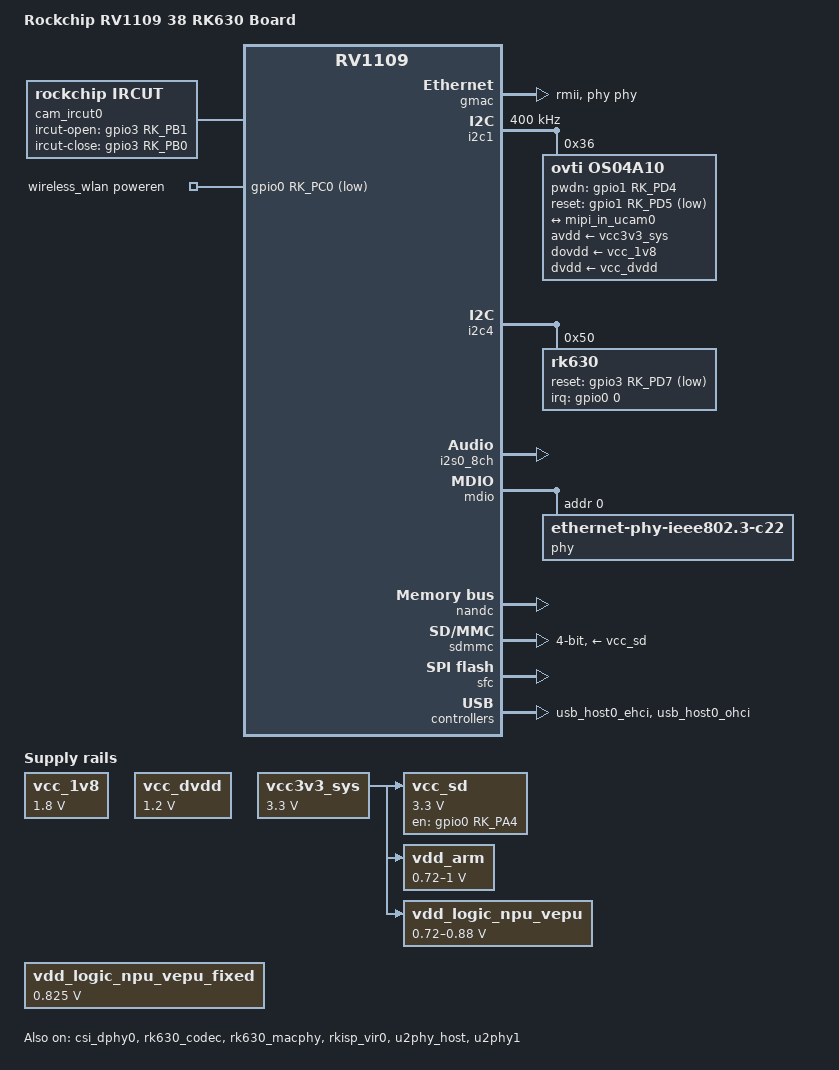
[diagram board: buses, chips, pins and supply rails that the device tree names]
// SPDX-License-Identifier: (GPL-2.0+ OR MIT)
/*
 * Copyright (c) 2022 Rockchip Electronics Co., Ltd.
 */

/dts-v1/;
#include "rv1126.dtsi"
#include "rv1126-ipc.dtsi"

/ {
	model = "Rockchip RV1109 38 RK630 Board";
	compatible = "rockchip,rv1109-38-rk630", "rockchip,rv1109";

	chosen {
		bootargs = "earlycon=uart8250,mmio32,0xff570000 console=ttyFIQ0 ubi.mtd=3 ubi.block=0,rootfs root=/dev/ubiblock0_0 rootfstype=squashfs snd_aloop.index=7";
	};

	/delete-node/ vdd-npu;
	/delete-node/ vdd-vepu;

	cam_ircut0: cam_ircut {
		compatible = "rockchip,ircut";
		status = "okay";
		ircut-open-gpios = <&gpio3 RK_PB1 GPIO_ACTIVE_HIGH>;
		ircut-close-gpios = <&gpio3 RK_PB0 GPIO_ACTIVE_HIGH>;
		pinctrl-names = "default";
		pinctrl-0 = <&ircut_pins>;
		rockchip,camera-module-index = <1>;
		rockchip,camera-module-facing = "front";
	};

	rk630_sound: rk630-sound {
		status = "okay";
		compatible = "simple-audio-card";
		simple-audio-card,format = "i2s";
		simple-audio-card,name = "rockchip,rk630-codec";
		simple-audio-card,mclk-fs = <256>;
		simple-audio-card,cpu {
			sound-dai = <&i2s0_8ch>;
		};
		simple-audio-card,codec {
			sound-dai = <&rk630_codec>;
		};
	};

	vcc_1v8: vcc-1v8 {
		compatible = "regulator-fixed";
		regulator-name = "vcc_1v8";
		regulator-always-on;
		regulator-boot-on;
		regulator-min-microvolt = <1800000>;
		regulator-max-microvolt = <1800000>;
	};

	vcc_dvdd: vcc-dvdd {
		compatible = "regulator-fixed";
		regulator-name = "vcc_dvdd";
		regulator-always-on;
		regulator-boot-on;
		regulator-min-microvolt = <1200000>;
		regulator-max-microvolt = <1200000>;
	};

	vcc3v3_sys: vcc33sys {
		compatible = "regulator-fixed";
		regulator-name = "vcc3v3_sys";
		regulator-always-on;
		regulator-boot-on;
		regulator-min-microvolt = <3300000>;
		regulator-max-microvolt = <3300000>;
	};

	vcc_sd: vcc-sd {
		compatible = "regulator-fixed";
		gpio = <&gpio0 RK_PA4 GPIO_ACTIVE_HIGH>;
		pinctrl-0 = <&sdmmc_pwr>;
		pinctrl-names = "default";
		regulator-name = "vcc_sd";
		regulator-min-microvolt = <3300000>;
		regulator-max-microvolt = <3300000>;
		startup-delay-us = <100000>;
		vin-supply = <&vcc3v3_sys>;
		enable-active-high;
	};

	vdd_arm: vdd-arm {
		compatible = "pwm-regulator";
		pwms = <&pwm0 0 5000 1>;
		regulator-name = "vdd_arm";
		regulator-min-microvolt = <720000>;
		regulator-max-microvolt = <1000000>;
		regulator-init-microvolt = <825000>;
		regulator-always-on;
		regulator-boot-on;
		regulator-settling-time-up-us = <250>;
		pwm-supply = <&vcc3v3_sys>;
		status = "okay";
	};

	/*
	 * pwm1 is reserved as voltage adjustment in hardware
	 * use fixed regulator to avoid voltage adjustment by software
	 */
	vdd_logic_npu_vepu: vdd-logic-npu-vepu {
		compatible = "pwm-regulator";
		pwms = <&pwm1 0 5000 1>;
		regulator-name = "vdd_logic_npu_vepu";
		regulator-min-microvolt = <720000>;
		regulator-max-microvolt = <880000>;
		regulator-init-microvolt = <825000>;
		regulator-always-on;
		regulator-boot-on;
		regulator-settling-time-up-us = <250>;
		pwm-supply = <&vcc3v3_sys>;
		status = "okay";
	};

	vdd_logic_npu_vepu_fixed: vdd-logic-npu-vepu-fixed {
		compatible = "regulator-fixed";
		regulator-name = "vdd_logic_npu_vepu-fixed";
		regulator-always-on;
		regulator-boot-on;
		regulator-min-microvolt = <825000>;
		regulator-max-microvolt = <825000>;
	};

	wireless_wlan: wireless-wlan {
		compatible = "wlan-platdata";
		rockchip,grf = <&grf>;
		wifi_chip_type = "rtl8188fu";
		WIFI,poweren_gpio = <&gpio0 RK_PC0 GPIO_ACTIVE_LOW>;
		status = "okay";
	};

};

&csi_dphy0 {
	status = "okay";

	ports {
		#address-cells = <1>;
		#size-cells = <0>;
		port@0 {
			reg = <0>;
			#address-cells = <1>;
			#size-cells = <0>;

			mipi_in_ucam0: endpoint@1 {
				reg = <1>;
				remote-endpoint = <&ucam_out0>;
				data-lanes = <1 2 3 4>;
			};
		};
		port@1 {
			reg = <1>;
			#address-cells = <1>;
			#size-cells = <0>;

			csidphy0_out: endpoint@0 {
				reg = <0>;
				remote-endpoint = <&isp_in>;
			};
		};
	};
};

&gmac {
	phy-mode = "rmii";
	clock_in_out = "output";
	assigned-clocks = <&cru CLK_GMAC_SRC>, <&cru CLK_GMAC_TX_RX>;
	assigned-clock-parents = <&cru CLK_GMAC_SRC_M0>, <&cru RMII_MODE_CLK>;
	assigned-clock-rates = <50000000>;

	pinctrl-names = "default";
	pinctrl-0 = <&rmiim0_miim &rgmiim0_rxer &rmiim0_bus2 &rgmiim0_mclkinout_level0>;

	phy-handle = <&phy>;
	status = "okay";
};

&i2c1 {
	status = "okay";
	clock-frequency = <400000>;

	os04a10: os04a10@36 {
		compatible = "ovti,os04a10";
		reg = <0x36>;
		clocks = <&cru CLK_MIPICSI_OUT>;
		clock-names = "xvclk";
		power-domains = <&power RV1126_PD_VI>;
		pinctrl-names = "rockchip,camera_default";
		pinctrl-0 = <&mipicsi_clk0>;
		avdd-supply = <&vcc3v3_sys>;
		dovdd-supply = <&vcc_1v8>;
		dvdd-supply = <&vcc_dvdd>;
		pwdn-gpios = <&gpio1 RK_PD4 GPIO_ACTIVE_HIGH>;
		reset-gpios = <&gpio1 RK_PD5 GPIO_ACTIVE_LOW>;
		rockchip,camera-module-index = <1>;
		rockchip,camera-module-facing = "front";
		rockchip,camera-module-name = "CMK-OT1607-FV1";
		rockchip,camera-module-lens-name = "M12-40IRC-4MP-F16";
		ir-cut = <&cam_ircut0>;

		port {
			ucam_out0: endpoint {
				remote-endpoint = <&mipi_in_ucam0>;
				data-lanes = <1 2 3 4>;
			};
		};
	};
};

&i2c4 {
	status = "okay";
	pinctrl-names = "default";
	pinctrl-0 = <&i2c4m1_xfer>;

	rk630: rk630@50 {
		reg = <0x50>;
		interrupt-parent = <&gpio0>;
		interrupts = <0 IRQ_TYPE_LEVEL_HIGH>;
		reset-gpios = <&gpio3 RK_PD7 GPIO_ACTIVE_LOW>;
		clocks = <&cru CLK_GMAC_ETHERNET_OUT>;
		clock-names = "ref";
		assigned-clocks = <&cru CLK_GMAC_ETHERNET_OUT>;
		assigned-clock-rates = <25000000>;
		pinctrl-names = "default";
		pinctrl-0 = <&clkm0_out_ethernet>;
		status = "okay";
	};
};

#include "arm64/rockchip/rk630.dtsi"

&i2s0_8ch {
	status = "okay";
	rockchip,clk-trcm = <1>;
	#sound-dai-cells = <0>;
	pinctrl-0 = <&i2s0m0_sclk_tx
		     &i2s0m0_lrck_tx
		     &i2s0m0_sdi0
		     &i2s0m0_sdo0>;
};

&mdio {
	phy: phy@0 {
		compatible = "ethernet-phy-ieee802.3-c22";
		reg = <0x0>;
	};
};

&nandc {
	status = "okay";
};

&npu {
	npu-supply = <&vdd_logic_npu_vepu_fixed>;
};

&pinctrl {
	ircut {
		/omit-if-no-ref/
		ircut_pins: ircut-pins {
			rockchip,pins = <3 RK_PB0 RK_FUNC_GPIO &pcfg_pull_up>,
					<3 RK_PB1 RK_FUNC_GPIO &pcfg_pull_up>;
		};
	};

	sdmmc-pwr {
		/omit-if-no-ref/
		sdmmc_pwr: sdmmc-pwr {
			rockchip,pins = <0 RK_PA4 RK_FUNC_GPIO &pcfg_pull_none>;
		};
	};
};

&pmu_io_domains {
	status = "okay";

	pmuio0-supply = <&vcc3v3_sys>;
	pmuio1-supply = <&vcc3v3_sys>;
	vccio2-supply = <&vcc3v3_sys>;
	vccio4-supply = <&vcc_1v8>;
	vccio5-supply = <&vcc3v3_sys>;
	vccio6-supply = <&vcc3v3_sys>;
	vccio7-supply = <&vcc3v3_sys>;
};

&rk630_codec {
	status = "okay";
	#sound-dai-cells = <0>;
	compatible = "rockchip,rk630-codec";
	clocks = <&cru MCLK_I2S0_TX_OUT2IO>;
	clock-names = "mclk";
	pinctrl-names = "default";
	pinctrl-0 = <&i2s0m0_mclk>;
	assigned-clocks = <&cru MCLK_I2S0_TX_OUT2IO>;
	assigned-clock-parents = <&cru MCLK_I2S0_TX>;
	capture_volume = <12>;
	hp_volume = <26>;
	spk_volume = <26>;
	gpio_debug;
};

&rk630_macphy {
	status = "okay";
};

&rkisp_vir0 {
	status = "okay";

	ports {
		port@0 {
			reg = <0>;
			#address-cells = <1>;
			#size-cells = <0>;

			isp_in: endpoint@0 {
				reg = <0>;
				remote-endpoint = <&csidphy0_out>;
			};
		};
	};
};

&rkvenc {
	venc-supply = <&vdd_logic_npu_vepu_fixed>;
};

&rockchip_suspend {
	status = "okay";
	rockchip,sleep-debug-en = <1>;
	rockchip,sleep-mode-config = <
		(0
		| RKPM_SLP_ARMOFF
		| RKPM_SLP_PMU_PMUALIVE_32K
		| RKPM_SLP_PMU_DIS_OSC
		)
	>;
};

&sdmmc0_bus4 {
	rockchip,pins =
		/* sdmmc0_d0 */
		<1 RK_PA4 1 &pcfg_pull_up_drv_level_0>,
		/* sdmmc0_d1 */
		<1 RK_PA5 1 &pcfg_pull_up_drv_level_0>,
		/* sdmmc0_d2 */
		<1 RK_PA6 1 &pcfg_pull_up_drv_level_0>,
		/* sdmmc0_d3 */
		<1 RK_PA7 1 &pcfg_pull_up_drv_level_0>;
};

&sdmmc0_clk {
	rockchip,pins =
		/* sdmmc0_clk */
		<1 RK_PB0 1 &pcfg_pull_up_drv_level_3>;
};

&sdmmc0_cmd {
	rockchip,pins =
		/* sdmmc0_cmd */
		<1 RK_PB1 1 &pcfg_pull_up_drv_level_0>;
};

&sdmmc {
	bus-width = <4>;
	cap-mmc-highspeed;
	cap-sd-highspeed;
	card-detect-delay = <200>;
	rockchip,default-sample-phase = <90>;
	supports-sd;
	status = "okay";
	vmmc-supply = <&vcc_sd>;
};

&sfc {
	status = "okay";
};

&u2phy_host {
	status = "okay";
};

&u2phy1 {
	status = "okay";
};

&usb_host0_ehci {
	status = "okay";
};

&usb_host0_ohci {
	status = "okay";
};
